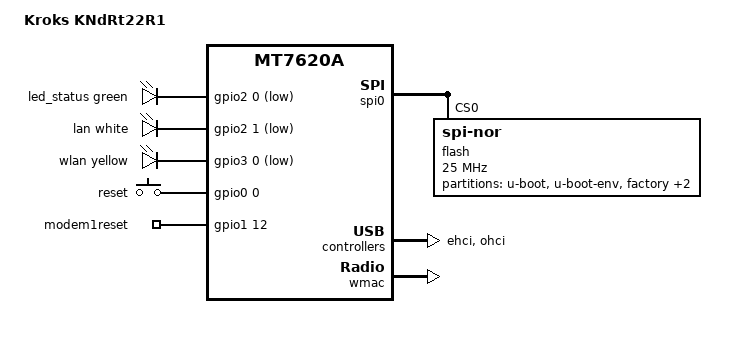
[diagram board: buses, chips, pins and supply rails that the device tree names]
// SPDX-License-Identifier: GPL-2.0-or-later OR MIT

#include "mt7620a.dtsi"

#include <dt-bindings/gpio/gpio.h>
#include <dt-bindings/input/input.h>
#include <dt-bindings/leds/common.h>

/ {
	compatible = "kroks,kndrt22r1", "ralink,mt7620a-soc";
	model = "Kroks KNdRt22R1";

	aliases {
		label-mac-device = &ethernet;
		led-boot = &led_status;
		led-failsafe = &led_status;
		led-running = &led_status;
		led-upgrade = &led_status;
	};

	chosen {
		bootargs = "console=ttyS0,57600";
	};

	leds {
		compatible = "gpio-leds";

		led_status: status {
			function = LED_FUNCTION_STATUS;
			color = <LED_COLOR_ID_GREEN>;
			gpios = <&gpio2 0 GPIO_ACTIVE_LOW>;
		};

		lan {
			function = LED_FUNCTION_LAN;
			color = <LED_COLOR_ID_WHITE>;
			gpios = <&gpio2 1 GPIO_ACTIVE_LOW>;
		};

		wlan {
			function = LED_FUNCTION_WLAN;
			color = <LED_COLOR_ID_YELLOW>;
			gpios = <&gpio3 0 GPIO_ACTIVE_LOW>;
			linux,default-trigger = "phy0tpt";
		};
	};

	keys {
		compatible = "gpio-keys";

		reset {
			label = "reset";
			gpios = <&gpio0 0 GPIO_ACTIVE_HIGH>;
			linux,code = <KEY_RESTART>;
		};
	};

	gpio_export {
		compatible = "gpio-export";

		modem1reset {
			gpio-export,name = "modem1reset";
			gpio-export,output = <1>;
			gpios = <&gpio1 12 GPIO_ACTIVE_HIGH>;
		};
	};
};

&gpio1 {
	status = "okay";
};

&gpio2 {
	status = "okay";
};

&gpio3 {
	status = "okay";
};

&spi0 {
	status = "okay";

	flash@0 {
		compatible = "jedec,spi-nor";
		reg = <0>;
		spi-max-frequency = <25000000>;
		m25p,fast-read;
		broken-flash-reset;

		partitions {
			compatible = "fixed-partitions";
			#address-cells = <1>;
			#size-cells = <1>;

			partition@0 {
				label = "u-boot";
				reg = <0x0 0x30000>;
				read-only;
			};

			partition@30000 {
				label = "u-boot-env";
				reg = <0x30000 0x10000>;
				read-only;
			};

			partition@40000 {
				label = "factory";
				reg = <0x40000 0x10000>;
				read-only;

				nvmem-layout {
					compatible = "fixed-layout";
					#address-cells = <1>;
					#size-cells = <1>;

					eeprom_factory_0: eeprom@0 {
						reg = <0x0 0x200>;
					};

					macaddr_factory_4: macaddr@4 {
						reg = <0x4 0x6>;
					};
				};
			};

			partition@50000 {
				compatible = "denx,uimage";
				label = "firmware";
				reg = <0x50000 0xeb0000>;
			};

			partition@f00000 {
				label = "memory";
				reg = <0xf00000 0x100000>;
				read-only;
			};
		};
	};
};

&state_default {
	gpio {
		groups = "pcie", "ephy", "wled";
		function = "gpio";
	};
};

&ethernet {
	nvmem-cells = <&macaddr_factory_4>;
	nvmem-cell-names = "mac-address";

	mediatek,portmap = "wllll";
};

&ehci {
	status = "okay";
};

&ohci {
	status = "okay";
};

&wmac {
	nvmem-cells = <&eeprom_factory_0>;
	nvmem-cell-names = "eeprom";
};
